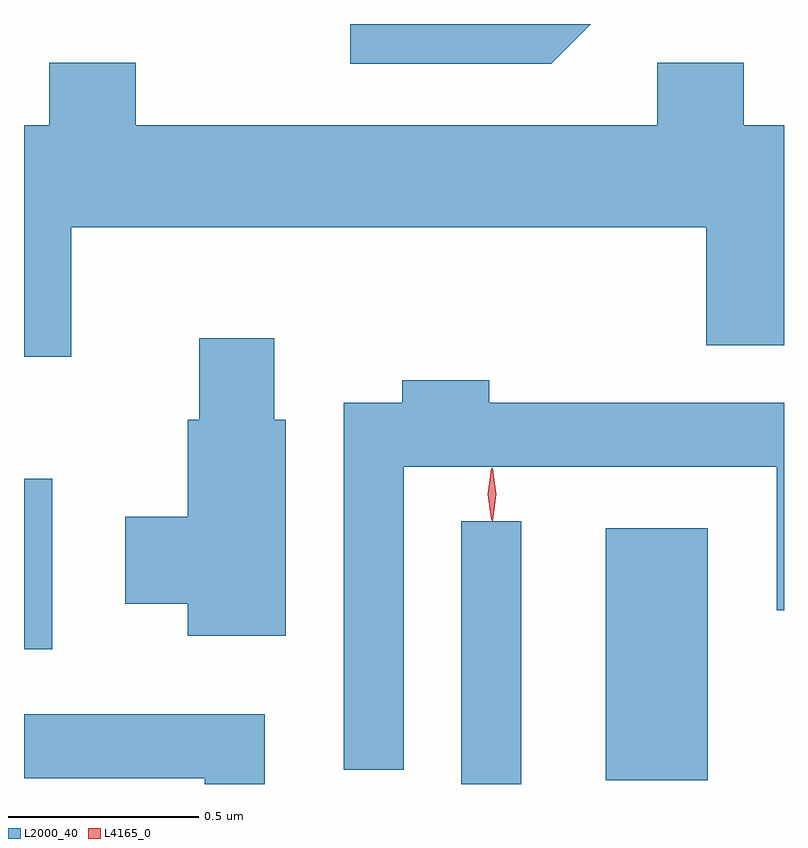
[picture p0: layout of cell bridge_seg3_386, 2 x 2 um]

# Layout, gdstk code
import gdstk
lib = gdstk.Library(unit=1e-6, precision=1e-09)
def R(c, l, rs):  # rectangles x0, y0, x1, y1
    for r in rs: c.add(gdstk.rectangle(r[:2], r[2:], *l))
def P(c, l, *ps):  # polygons
    for p in ps: c.add(gdstk.Polygon(p, *l))
L2000_40 = (2000, 40)
L4165_0 = (4165, 0)

bridge_seg3_386 = lib.new_cell('bridge_seg3_386')
R(bridge_seg3_386, L2000_40, [(529.746,1151.191,529.904,1151.883), (530.126,1151.201,530.394,1151.864), (528.595,1151.546,528.669,1151.994)])
P(bridge_seg3_386, L2000_40, [(530.086,1153.191),(529.453,1153.191),(529.453,1153.086),(529.982,1153.086)],
  [(528.719,1152.656),(530.391,1152.656),(530.391,1152.346),(530.595,1152.346),(530.595,1152.924),(530.489,1152.924),(530.489,1153.089),(530.261,1153.089),(530.261,1152.924),(528.889,1152.924),(528.889,1153.089),(528.661,1153.089),(528.661,1152.924),(528.595,1152.924),(528.595,1152.316),(528.719,1152.316)],
  [(529.284,1152.149),(529.254,1152.149),(529.254,1152.364),(529.056,1152.364),(529.056,1152.149),(529.026,1152.149),(529.026,1151.894),(528.861,1151.894),(528.861,1151.666),(529.026,1151.666),(529.026,1151.581),(529.284,1151.581)],
  [(529.594,1152.026),(530.576,1152.026),(530.576,1151.648),(530.595,1151.648),(530.595,1152.194),(529.819,1152.194),(529.819,1152.254),(529.591,1152.254),(529.591,1152.194),(529.436,1152.194),(529.436,1151.228),(529.594,1151.228)],
  [(529.229,1151.374),(528.595,1151.374),(528.595,1151.206),(529.071,1151.206),(529.071,1151.191),(529.229,1151.191)])
P(bridge_seg3_386, L4165_0, [(529.825,1151.887),(529.824,1151.888),(529.815,1151.954),(529.824,1152.02),(529.825,1152.021),(529.826,1152.02),(529.835,1151.954),(529.826,1151.888)],
  [(529.828,1151.883),(529.827,1151.884),(529.818,1151.953),(529.827,1152.022),(529.828,1152.023),(529.828,1152.022),(529.838,1151.953),(529.828,1151.884)])

lib.write_gds('bridge_seg3_386.gds')
